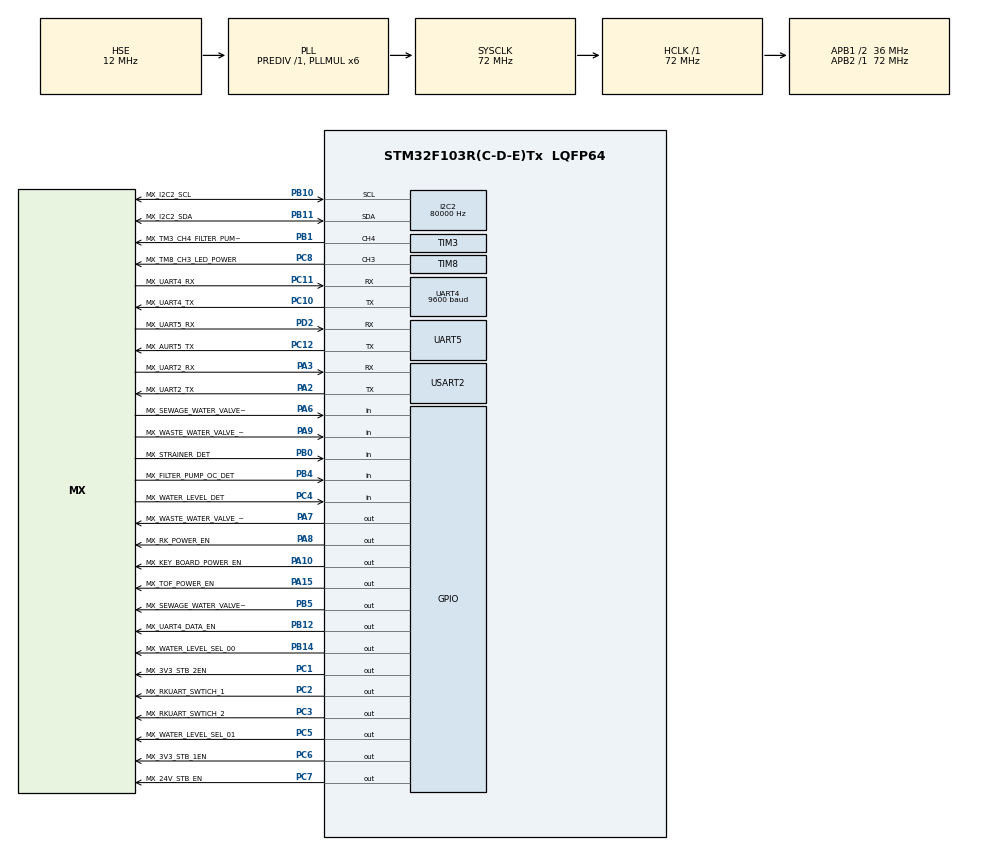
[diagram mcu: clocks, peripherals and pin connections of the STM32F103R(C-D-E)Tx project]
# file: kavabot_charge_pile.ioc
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Dma.Request0=USART2_RX
Dma.Request1=USART2_TX
Dma.USART2_RX.0.Direction=DMA_PERIPH_TO_MEMORY
Dma.USART2_RX.0.Instance=DMA1_Channel6
Dma.USART2_RX.0.MemDataAlignment=DMA_MDATAALIGN_BYTE
Dma.USART2_RX.0.MemInc=DMA_MINC_ENABLE
Dma.USART2_RX.0.Mode=DMA_CIRCULAR
Dma.USART2_RX.0.PeriphDataAlignment=DMA_PDATAALIGN_BYTE
Dma.USART2_RX.0.PeriphInc=DMA_PINC_DISABLE
Dma.USART2_RX.0.Priority=DMA_PRIORITY_VERY_HIGH
Dma.USART2_TX.1.Direction=DMA_MEMORY_TO_PERIPH
Dma.USART2_TX.1.Instance=DMA1_Channel7
Dma.USART2_TX.1.MemDataAlignment=DMA_MDATAALIGN_BYTE
Dma.USART2_TX.1.MemInc=DMA_MINC_ENABLE
Dma.USART2_TX.1.Mode=DMA_NORMAL
Dma.USART2_TX.1.PeriphDataAlignment=DMA_PDATAALIGN_BYTE
Dma.USART2_TX.1.PeriphInc=DMA_PINC_DISABLE
Dma.USART2_TX.1.Priority=DMA_PRIORITY_VERY_HIGH
FREERTOS.INCLUDE_xTaskGetCurrentTaskHandle=1
FREERTOS.Mutexes01=mutex_i2c2,Static,mutex_i2c2ControlBlock
FREERTOS.Tasks01=defaultTask,8,1024,StartDefaultTask,As weak,NULL,Dynamic,NULL,NULL;task_led,8,256,task_led_run,As weak,NULL,Static,task_ledBuffer,task_ledControlBlock;task_shell,8,512,task_shell_run,As weak,NULL,Static,task_shellBuffer,task_shellControlBlock;task_key,32,512,task_key_run,As weak,NULL,Static,task_keyBuffer,task_keyControlBlock;clean_ctrl,8,512,task_clean_ctrl_det_run,As weak,NULL,Static,clean_ctrlBuffer,clean_ctrlControlBlock
FREERTOS.configGENERATE_RUN_TIME_STATS=1
FREERTOS.configMAX_TASK_NAME_LEN=32
FREERTOS.configTOTAL_HEAP_SIZE=35000
FREERTOS.configUSE_STATS_FORMATTING_FUNCTIONS=1
I2C2.ClockSpeed=80000
Mcu.Family=STM32F1
Mcu.Name=STM32F103R(C-D-E)Tx
Mcu.Package=LQFP64
NVIC.DMA1_Channel6_IRQn=true\:5\:0\:false\:true\:true\:1\:true\:false\:true
NVIC.DMA1_Channel7_IRQn=true\:5\:0\:false\:true\:true\:2\:true\:false\:true
NVIC.PriorityGroup=NVIC_PRIORITYGROUP_4
NVIC.TIM5_IRQn=true\:15\:0\:true\:false\:true\:false\:false\:true
NVIC.TimeBase=TIM5_IRQn
NVIC.TimeBaseIP=TIM5
NVIC.UART4_IRQn=true\:5\:0\:false\:true\:true\:4\:true\:true\:true
NVIC.UART5_IRQn=true\:5\:0\:true\:false\:true\:true\:true\:true
NVIC.USART2_IRQn=true\:5\:0\:true\:true\:true\:3\:true\:true\:true
PA10.GPIO_Label=MX_KEY_BOARD_POWER_EN
PA10.Signal=GPIO_Output
PA13.Mode=Serial_Wire
PA13.Signal=SYS_JTMS-SWDIO
PA14.Mode=Serial_Wire
PA14.Signal=SYS_JTCK-SWCLK
PA15.GPIO_Label=MX_TOF_POWER_EN
PA15.Signal=GPIO_Output
PA2.GPIO_Label=MX_UART2_TX
PA2.Mode=Asynchronous
PA2.Signal=USART2_TX
PA3.GPIO_Label=MX_UART2_RX
PA3.Mode=Asynchronous
PA3.Signal=USART2_RX
PA6.GPIO_Label=MX_SEWAGE_WATER_VALVE_DET
PA6.Signal=GPIO_Input
PA7.GPIO_Label=MX_WASTE_WATER_VALVE_EN
PA7.Signal=GPIO_Output
PA8.GPIO_Label=MX_RK_POWER_EN
PA8.Signal=GPIO_Output
PA9.GPIO_Label=MX_WASTE_WATER_VALVE_DET
PA9.Signal=GPIO_Input
PB0.GPIO_Label=MX_STRAINER_DET
PB0.Signal=GPIO_Input
PB1.GPIO_Label=MX_TM3_CH4_FILTER_PUMP_POWER
PB1.Signal=S_TIM3_CH4
PB10.GPIO_Label=MX_I2C2_SCL
PB10.Mode=I2C
PB10.Signal=I2C2_SCL
PB11.GPIO_Label=MX_I2C2_SDA
PB11.Mode=I2C
PB11.Signal=I2C2_SDA
PB12.GPIO_Label=MX_UART4_DATA_EN
PB12.Signal=GPIO_Output
PB14.GPIO_Label=MX_WATER_LEVEL_SEL_00
PB14.Signal=GPIO_Output
PB4.GPIO_Label=MX_FILTER_PUMP_OC_DET
PB4.Signal=GPIO_Input
PB5.GPIO_Label=MX_SEWAGE_WATER_VALVE_EN
PB5.Signal=GPIO_Output
PC1.GPIO_Label=MX_3V3_STB_2EN
PC1.Signal=GPIO_Output
PC10.GPIO_Label=MX_UART4_TX
PC10.Mode=Asynchronous
PC10.Signal=UART4_TX
PC11.GPIO_Label=MX_UART4_RX
PC11.Mode=Asynchronous
PC11.Signal=UART4_RX
PC12.GPIO_Label=MX_AURT5_TX
PC12.GPIO_Mode=GPIO_MODE_AF_PP
PC12.GPIO_Speed=GPIO_SPEED_FREQ_HIGH
PC12.Mode=Asynchronous
PC12.Signal=UART5_TX
PC14-OSC32_IN.Signal=RCC_OSC32_IN
PC15-OSC32_OUT.Signal=RCC_OSC32_OUT
PC2.GPIO_Label=MX_RKUART_SWTICH_1
PC2.Signal=GPIO_Output
PC3.GPIO_Label=MX_RKUART_SWTICH_2
PC3.Signal=GPIO_Output
PC4.GPIO_Label=MX_WATER_LEVEL_DET
PC4.Signal=GPIO_Input
PC5.GPIO_Label=MX_WATER_LEVEL_SEL_01
PC5.Signal=GPIO_Output
PC6.GPIO_Label=MX_3V3_STB_1EN
PC6.Signal=GPIO_Output
PC7.GPIO_Label=MX_24V_STB_EN
PC7.Signal=GPIO_Output
PC8.GPIO_Label=MX_TM8_CH3_LED_POWER
PC8.Signal=S_TIM8_CH3
PD0-OSC_IN.Mode=HSE-External-Oscillator
PD0-OSC_IN.Signal=RCC_OSC_IN
PD1-OSC_OUT.Mode=HSE-External-Oscillator
PD1-OSC_OUT.Signal=RCC_OSC_OUT
PD2.GPIO_Label=MX_UART5_RX
PD2.GPIO_Mode=GPIO_MODE_INPUT
PD2.GPIO_PuPd=GPIO_NOPULL
PD2.Mode=Asynchronous
PD2.Signal=UART5_RX
ProjectManager.HeapSize=0x400
ProjectManager.StackSize=0x400
ProjectManager.TargetToolchain=Makefile
RCC.ADCPresc=RCC_ADCPCLK2_DIV6
RCC.AHBFreq_Value=72000000
RCC.APB1CLKDivider=RCC_HCLK_DIV2
RCC.APB1Freq_Value=36000000
RCC.APB1TimFreq_Value=72000000
RCC.APB2Freq_Value=72000000
RCC.APB2TimFreq_Value=72000000
RCC.HCLKFreq_Value=72000000
RCC.HSE_VALUE=12000000
RCC.PLLMUL=RCC_PLL_MUL6
RCC.PLLSourceVirtual=RCC_PLLSOURCE_HSE
RCC.SYSCLKFreq_VALUE=72000000
RCC.SYSCLKSource=RCC_SYSCLKSOURCE_PLLCLK
RCC.USBFreq_Value=72000000
RTC.Date=24
RTC.Month=RTC_MONTH_SEPTEMBER
RTC.WeekDay=RTC_WEEKDAY_FRIDAY
RTC.Year=21
SH.S_TIM3_CH4.0=TIM3_CH4,PWM Generation4 CH4
SH.S_TIM8_CH3.0=TIM8_CH3,PWM Generation3 CH3
TIM3.AutoReloadPreload=TIM_AUTORELOAD_PRELOAD_ENABLE
TIM3.Channel-PWM\ Generation4\ CH4=TIM_CHANNEL_4
TIM3.Period=100-1
TIM3.Prescaler=720-1
TIM8.AutoReloadPreload=TIM_AUTORELOAD_PRELOAD_ENABLE
TIM8.Channel-PWM\ Generation3\ CH3=TIM_CHANNEL_3
TIM8.Period=10000-1
TIM8.Prescaler=72-1
UART4.BaudRate=9600
UART4.VirtualMode=Asynchronous
UART5.VirtualMode=Asynchronous
USART2.VirtualMode=VM_ASYNC
VP_FREERTOS_VS_CMSIS_V2.Mode=CMSIS_V2
VP_RTC_VS_RTC_Activate.Mode=RTC_Enabled
VP_RTC_VS_RTC_Calendar.Mode=RTC_Calendar
VP_SYS_VS_tim5.Mode=TIM5
VP_TIM3_VS_ClockSourceINT.Mode=Internal
VP_TIM8_VS_ClockSourceINT.Mode=Internal
board=custom

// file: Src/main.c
/* USER CODE BEGIN Header */
/**
 ******************************************************************************
 * @file           : main.c
 * @brief          : Main program body
 ******************************************************************************
 * @attention
 *
 * <h2><center>&copy; Copyright (c) 2021 STMicroelectronics.
 * All rights reserved.</center></h2>
 *
 * This software component is licensed by ST under BSD 3-Clause license,
 * the "License"; You may not use this file except in compliance with the
 * License. You may obtain a copy of the License at:
 *                        opensource.org/licenses/BSD-3-Clause
 *
 ******************************************************************************
 */
/* USER CODE END Header */
#include "main.h"
#include "cmsis_os.h"
#include "dma.h"
#include "i2c.h"
#include "rtc.h"
#include "tim.h"
#include "usart.h"
#include "gpio.h"

/* USER CODE BEGIN Includes */

#include "app.h"
#include "bsp_gpio_out.h"
#include "bsp_gpio_in.h"
#include "bsp_cputime.h"
/* USER CODE END Includes */

void        SystemClock_Config(void);
void        MX_FREERTOS_Init(void);
static void MX_NVIC_Init(void);

int main(void) {

    /* MCU
     * Configuration--------------------------------------------------------*/

    /* Reset of all peripherals, Initializes the Flash interface and the
     * Systick. */
    HAL_Init();

    /* Configure the system clock */
    SystemClock_Config();

    /* USER CODE BEGIN SysInit */
#ifdef IAP
    SCB->VTOR = FLASH_BASE | 0x00008200;
    __set_FAULTMASK(0);
    __enable_irq();
#endif
    cortexm_cputime_init();
    /* USER CODE END SysInit */

    /* Initialize all configured peripherals */
    MX_GPIO_Init();
    MX_DMA_Init();
    MX_RTC_Init();
    MX_UART4_Init();
    MX_UART5_Init();
    MX_USART2_UART_Init();
    MX_I2C2_Init();
    MX_TIM3_Init();
    MX_TIM8_Init();

    /* Initialize interrupts */
    MX_NVIC_Init();
    /* USER CODE BEGIN 2 */
    /* 打开rk3399电源 */
    gpio_out_on(ID_RK3399_POWER_CTRL);
    /* app 初始化*/
    app_init();
    /* 给按键板供电 */
    gpio_out_on(ID_KEY_BOARD_POWER_EN);
    HAL_Delay(20);
    /* 按键板IO初始化 */
    gpio_out_init_for_pca9539();
    gpio_in_init_for_pca9539();
    /* USER CODE END 2 */

    /* Init scheduler */
    osKernelInitialize(); /* Call init function for freertos objects (in
                             freertos.c) */
    MX_FREERTOS_Init();
    /* Start scheduler */
    osKernelStart();

    /* We should never get here as control is now taken by the scheduler */
    /* Infinite loop */
    while (1) {

    }
}

void SystemClock_Config(void) {
    RCC_OscInitTypeDef       RCC_OscInitStruct = {0};
    RCC_ClkInitTypeDef       RCC_ClkInitStruct = {0};
    RCC_PeriphCLKInitTypeDef PeriphClkInit     = {0};

    /** Initializes the RCC Oscillators according to the specified parameters
     * in the RCC_OscInitTypeDef structure.
     */
    RCC_OscInitStruct.OscillatorType = RCC_OSCILLATORTYPE_LSI | RCC_OSCILLATORTYPE_HSE;
    RCC_OscInitStruct.HSEState       = RCC_HSE_ON;
    RCC_OscInitStruct.HSEPredivValue = RCC_HSE_PREDIV_DIV1;
    RCC_OscInitStruct.HSIState       = RCC_HSI_ON;
    RCC_OscInitStruct.LSIState       = RCC_LSI_ON;
    RCC_OscInitStruct.PLL.PLLState   = RCC_PLL_ON;
    RCC_OscInitStruct.PLL.PLLSource  = RCC_PLLSOURCE_HSE;
    RCC_OscInitStruct.PLL.PLLMUL     = RCC_PLL_MUL6;
    if (HAL_RCC_OscConfig(&RCC_OscInitStruct) != HAL_OK) {
        Error_Handler();
    }
    /** Initializes the CPU, AHB and APB buses clocks
     */
    RCC_ClkInitStruct.ClockType      = RCC_CLOCKTYPE_HCLK | RCC_CLOCKTYPE_SYSCLK | RCC_CLOCKTYPE_PCLK1 | RCC_CLOCKTYPE_PCLK2;
    RCC_ClkInitStruct.SYSCLKSource   = RCC_SYSCLKSOURCE_PLLCLK;
    RCC_ClkInitStruct.AHBCLKDivider  = RCC_SYSCLK_DIV1;
    RCC_ClkInitStruct.APB1CLKDivider = RCC_HCLK_DIV2;
    RCC_ClkInitStruct.APB2CLKDivider = RCC_HCLK_DIV1;

    if (HAL_RCC_ClockConfig(&RCC_ClkInitStruct, FLASH_LATENCY_2) != HAL_OK) {
        Error_Handler();
    }
    PeriphClkInit.PeriphClockSelection = RCC_PERIPHCLK_RTC;
    PeriphClkInit.RTCClockSelection    = RCC_RTCCLKSOURCE_LSI;
    if (HAL_RCCEx_PeriphCLKConfig(&PeriphClkInit) != HAL_OK) {
        Error_Handler();
    }
}

/**
 * @brief NVIC Configuration.
 * @retval None
 */
static void MX_NVIC_Init(void) {
    /* DMA1_Channel6_IRQn interrupt configuration */
    HAL_NVIC_SetPriority(DMA1_Channel6_IRQn, 5, 0);
    HAL_NVIC_EnableIRQ(DMA1_Channel6_IRQn);
    /* DMA1_Channel7_IRQn interrupt configuration */
    HAL_NVIC_SetPriority(DMA1_Channel7_IRQn, 5, 0);
    HAL_NVIC_EnableIRQ(DMA1_Channel7_IRQn);
    /* USART2_IRQn interrupt configuration */
    HAL_NVIC_SetPriority(USART2_IRQn, 5, 0);
    HAL_NVIC_EnableIRQ(USART2_IRQn);
    /* UART4_IRQn interrupt configuration */
    HAL_NVIC_SetPriority(UART4_IRQn, 5, 0);
    HAL_NVIC_EnableIRQ(UART4_IRQn);
}

void HAL_TIM_PeriodElapsedCallback(TIM_HandleTypeDef *htim) {
    if (htim->Instance == TIM5) {
        HAL_IncTick();
    }
}

void Error_Handler(void) {
    /* USER CODE BEGIN Error_Handler_Debug */
    /* User can add his own implementation to report the HAL error return state
     */
    __disable_irq();
    while (1) {
    }
    /* USER CODE END Error_Handler_Debug */
}

#ifdef USE_FULL_ASSERT
/**
 * @brief  Reports the name of the source file and the source line number
 *         where the assert_param error has occurred.
 * @param  file: pointer to the source file name
 * @param  line: assert_param error line source number
 * @retval None
 */
void assert_failed(uint8_t *file, uint32_t line) {
    /* USER CODE BEGIN 6 */
    /* User can add his own implementation to report the file name and line
       number, ex: printf("Wrong parameters value: file %s on line %d\r\n",
       file, line) */
    /* USER CODE END 6 */
}
#endif /* USE_FULL_ASSERT */

/************************ (C) COPYRIGHT STMicroelectronics *****END OF FILE****/

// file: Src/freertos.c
/* USER CODE BEGIN Header */
/**
 ******************************************************************************
 * File Name          : freertos.c
 * Description        : Code for freertos applications
 ******************************************************************************
 * @attention
 *
 * <h2><center>&copy; Copyright (c) 2021 STMicroelectronics.
 * All rights reserved.</center></h2>
 *
 * This software component is licensed by ST under Ultimate Liberty license
 * SLA0044, the "License"; You may not use this file except in compliance with
 * the License. You may obtain a copy of the License at:
 *                             www.st.com/SLA0044
 *
 ******************************************************************************
 */
/* USER CODE END Header */

#include "FreeRTOS.h"
#include "task.h"
#include "main.h"
#include "cmsis_os.h"

typedef StaticTask_t      osStaticThreadDef_t;
typedef StaticSemaphore_t osStaticMutexDef_t;

/* Definitions for defaultTask */
osThreadId_t         defaultTaskHandle;
const osThreadAttr_t defaultTask_attributes = {
    .name       = "defaultTask",
    .stack_size = 1024 * 4,
    .priority   = (osPriority_t) osPriorityLow,
};
/* Definitions for task_led */
osThreadId_t         task_ledHandle;
uint32_t             task_ledBuffer[256];
osStaticThreadDef_t  task_ledControlBlock;
const osThreadAttr_t task_led_attributes = {
    .name       = "task_led",
    .cb_mem     = &task_ledControlBlock,
    .cb_size    = sizeof(task_ledControlBlock),
    .stack_mem  = &task_ledBuffer[0],
    .stack_size = sizeof(task_ledBuffer),
    .priority   = (osPriority_t) osPriorityLow,
};
/* Definitions for task_shell */
osThreadId_t         task_shellHandle;
uint32_t             task_shellBuffer[512];
osStaticThreadDef_t  task_shellControlBlock;
const osThreadAttr_t task_shell_attributes = {
    .name       = "task_shell",
    .cb_mem     = &task_shellControlBlock,
    .cb_size    = sizeof(task_shellControlBlock),
    .stack_mem  = &task_shellBuffer[0],
    .stack_size = sizeof(task_shellBuffer),
    .priority   = (osPriority_t) osPriorityLow,
};
/* Definitions for task_key */
osThreadId_t         task_keyHandle;
uint32_t             task_keyBuffer[512];
osStaticThreadDef_t  task_keyControlBlock;
const osThreadAttr_t task_key_attributes = {
    .name       = "task_key",
    .cb_mem     = &task_keyControlBlock,
    .cb_size    = sizeof(task_keyControlBlock),
    .stack_mem  = &task_keyBuffer[0],
    .stack_size = sizeof(task_keyBuffer),
    .priority   = (osPriority_t) osPriorityAboveNormal,
};
/* Definitions for task_clean_ctrl */
osThreadId_t         task_clean_ctrlHandle;
uint32_t             task_clean_ctrlBuffer[512];
osStaticThreadDef_t  task_clean_ctrlControlBlock;
const osThreadAttr_t task_clean_ctrl_attributes = {
    .name       = "task_clean_ctrl",
    .cb_mem     = &task_clean_ctrlControlBlock,
    .cb_size    = sizeof(task_clean_ctrlControlBlock),
    .stack_mem  = &task_clean_ctrlBuffer[0],
    .stack_size = sizeof(task_clean_ctrlBuffer),
    .priority   = (osPriority_t) osPriorityLow,
};
/* Definitions for task_clean_manage */
osThreadId_t         task_clean_manageHandle;
uint32_t             task_clean_manageBuffer[1024];
osStaticThreadDef_t  task_clean_manageControlBlock;
const osThreadAttr_t task_clean_manage_attributes = {
    .name       = "task_clean_manage",
    .cb_mem     = &task_clean_manageControlBlock,
    .cb_size    = sizeof(task_clean_manageControlBlock),
    .stack_mem  = &task_clean_manageBuffer[0],
    .stack_size = sizeof(task_clean_manageBuffer),
    .priority   = (osPriority_t) osPriorityLow,
};
/* Definitions for mutex_i2c2 */
osMutexId_t         mutex_i2c2Handle;
osStaticMutexDef_t  mutex_i2c2ControlBlock;
const osMutexAttr_t mutex_i2c2_attributes = {
    .name    = "mutex_i2c2",
    .cb_mem  = &mutex_i2c2ControlBlock,
    .cb_size = sizeof(mutex_i2c2ControlBlock),
};

/* USER CODE BEGIN FunctionPrototypes */

/* Definitions for task_workstation_control_run */
osThreadId_t         task_workstaion_control_runHandle;
uint32_t             task_workstation_control_runBuffer[1024];
osStaticThreadDef_t  task_workstaion_control_runControlBlock;
const osThreadAttr_t task_workstation_control_run_attributes = {
    .name       = "task_workstation_control_run",
    .cb_mem     = &task_workstaion_control_runControlBlock,
    .cb_size    = sizeof(task_workstaion_control_runControlBlock),
    .stack_mem  = &task_workstation_control_runBuffer[0],
    .stack_size = sizeof(task_workstation_control_runBuffer),
    .priority   = (osPriority_t) osPriorityBelowNormal,
};

/* Definitions for task_workstation_control_run */
osThreadId_t         task_log_runHandle;
uint32_t             task_log_runBuffer[256];
osStaticThreadDef_t  task_log_runControlBlock;
const osThreadAttr_t task_log_run_attributes = {
    .name       = "task_log_run",
    .cb_mem     = &task_log_runControlBlock,
    .cb_size    = sizeof(task_log_runControlBlock),
    .stack_mem  = &task_log_runBuffer[0],
    .stack_size = sizeof(task_log_runBuffer),
    .priority   = (osPriority_t) osPriorityBelowNormal,
};
/* USER CODE END FunctionPrototypes */

void StartDefaultTask(void *argument);
void task_led_run(void *argument);
void task_shell_run(void *argument);
void task_key_run(void *argument);
void task_clean_ctrl_det_run(void *argument);
void task_clean_manage_run(void *argument);
void task_fal_log_run(void *argument);

void MX_FREERTOS_Init(void); /* (MISRA C 2004 rule 8.1) */

/* Hook prototypes */
void          configureTimerForRunTimeStats(void);
unsigned long getRunTimeCounterValue(void);

/* USER CODE BEGIN 1 */
/* Functions needed when configGENERATE_RUN_TIME_STATS is on */
__weak void configureTimerForRunTimeStats(void) {}

__weak unsigned long getRunTimeCounterValue(void) {
    return 0;
}

void task_workstation_control_run(void *argument);
/* USER CODE END 1 */

void MX_FREERTOS_Init(void) {
    /* Create the mutex(es) */
    /* creation of mutex_i2c2 */
    mutex_i2c2Handle = osMutexNew(&mutex_i2c2_attributes);

    /* Create the thread(s) */
    /* creation of defaultTask */
    defaultTaskHandle = osThreadNew(StartDefaultTask, NULL, &defaultTask_attributes);

    /* creation of task_led */
    task_ledHandle = osThreadNew(task_led_run, NULL, &task_led_attributes);

    /* creation of task_shell */
    task_shellHandle = osThreadNew(task_shell_run, NULL, &task_shell_attributes);

    /* creation of task_key */
    task_keyHandle = osThreadNew(task_key_run, NULL, &task_key_attributes);

    /* creation of task_clean_ctrl */
    task_clean_ctrlHandle = osThreadNew(task_clean_ctrl_det_run, NULL, &task_clean_ctrl_attributes);

    /* creation of task_clean_manage */
    task_clean_manageHandle = osThreadNew(task_clean_manage_run, NULL, &task_clean_manage_attributes);

    /* USER CODE BEGIN RTOS_THREADS */
    /* add threads, ... */
    /* creation of task_workstation_control_run */
    task_workstaion_control_runHandle = osThreadNew(task_workstation_control_run, NULL, &task_workstation_control_run_attributes);

    /* creation of task_workstation_control_run */
    task_log_runHandle = osThreadNew(task_fal_log_run, NULL, &task_log_run_attributes);

    /* USER CODE END RTOS_THREADS */

}

__weak void StartDefaultTask(void *argument) {
    for (;;) {
        osDelay(1);
    }
}

__weak void task_led_run(void *argument) {
    for (;;) {
        osDelay(1);
    }
}

__weak void task_shell_run(void *argument) {
    /* USER CODE BEGIN task_shell_run */
    /* Infinite loop */
    for (;;) {
        /* feed dog */
        // iwdg_feed();
        /* handle letter shell */
        extern void letter_shell_recv_handler();
        letter_shell_recv_handler();
        osDelay(10);
    }
    /* USER CODE END task_shell_run */
}

__weak void task_key_run(void *argument) {
    for (;;) {
        osDelay(1);
    }
}

__weak void task_clean_ctrl_det_run(void *argument) {
    for (;;) {
        osDelay(1);
    }
}

__weak void task_clean_manage_run(void *argument) {
    for (;;) {
        osDelay(1);
    }
}

/************************ (C) COPYRIGHT STMicroelectronics *****END OF FILE****/
